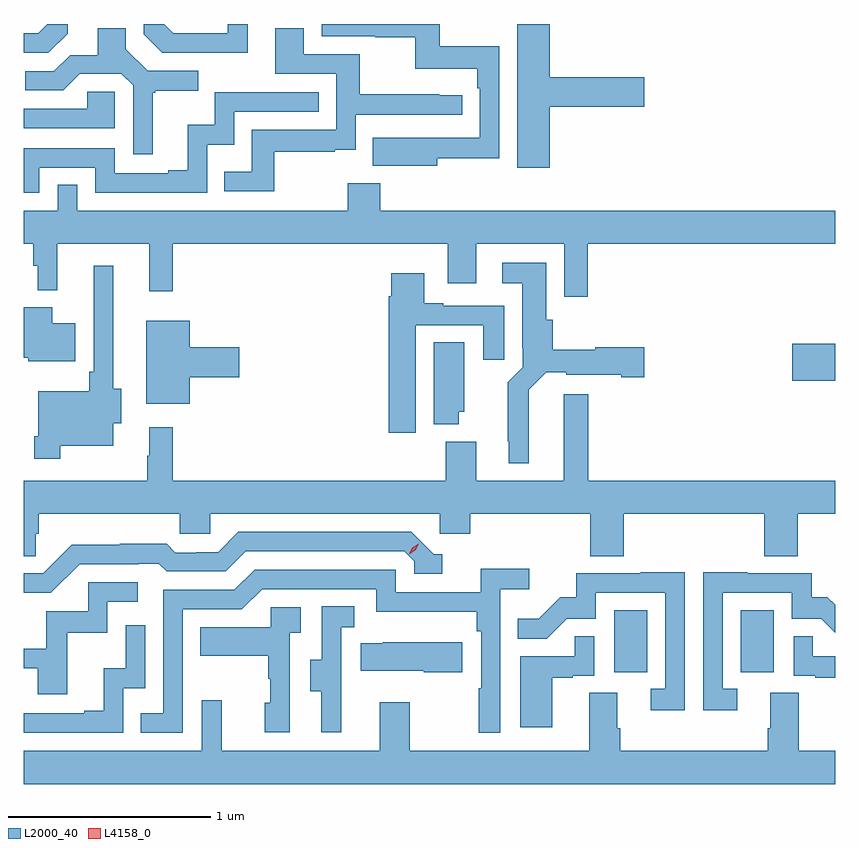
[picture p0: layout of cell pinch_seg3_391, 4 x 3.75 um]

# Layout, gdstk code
import gdstk
lib = gdstk.Library(unit=1e-6, precision=1e-09)
def R(c, l, rs):  # rectangles x0, y0, x1, y1
    for r in rs: c.add(gdstk.rectangle(r[:2], r[2:], *l))
def P(c, l, *ps):  # polygons
    for p in ps: c.add(gdstk.Polygon(p, *l))
L2000_40 = (2000, 40)
L4158_0 = (4158, 0)

pinch_seg3_391 = lib.new_cell('pinch_seg3_391')
R(pinch_seg3_391, L2000_40, [(936.59,689.478,936.754,689.785), (937.214,689.478,937.378,689.785), (937.47,690.917,937.68,691.1)])
P(pinch_seg3_391, L2000_40, [(936.274,692.267),(936.739,692.267),(936.739,692.414),(936.274,692.414),(936.274,692.676),(936.113,692.676),(936.113,691.968),(936.274,691.968)],
  [(935.719,692.014),(936.024,692.014),(936.024,692.566),(935.731,692.566),(935.731,692.676),(935.148,692.676),(935.148,692.616),(935.413,692.616),(935.413,692.611),(935.61,692.611),(935.61,692.456),(935.915,692.456),(935.915,692.36),(935.928,692.36),(935.928,692.115),(935.615,692.115),(935.615,692.116),(935.401,692.116),(935.401,691.976),(935.719,691.976)],
  [(934.783,692.676),(934.686,692.676),(934.686,692.631),(934.416,692.631),(934.371,692.676),(934.272,692.676),(934.272,692.625),(934.362,692.535),(934.578,692.535),(934.578,692.534),(934.783,692.534)],
  [(933.895,692.629),(933.895,692.676),(933.795,692.676),(933.75,692.631),(933.68,692.631),(933.68,692.535),(933.801,692.535)],
  [(934.315,692.337),(934.327,692.337),(934.327,692.348),(934.54,692.348),(934.54,692.445),(934.29,692.445),(934.183,692.552),(934.183,692.654),(934.043,692.654),(934.043,692.522),(933.908,692.522),(933.828,692.442),(933.687,692.442),(933.687,692.349),(933.874,692.349),(933.955,692.43),(934.161,692.43),(934.218,692.373),(934.218,692.034),(934.315,692.034)],
  [(934.915,692.046),(935.213,692.046),(935.213,692.057),(935.316,692.057),(935.316,692.229),(935.842,692.229),(935.842,692.325),(935.729,692.325),(935.729,692.33),(935.336,692.33),(935.336,692.526),(935.059,692.526),(935.059,692.654),(934.919,692.654),(934.919,692.43),(935.22,692.43),(935.22,692.154),(934.804,692.154),(934.804,691.948),(934.669,691.948),(934.669,691.851),(934.915,691.851)],
  [(934.128,692.343),(933.991,692.343),(933.991,692.259),(933.68,692.259),(933.68,692.163),(934.128,692.163)],
  [(933.756,691.968),(934.032,691.968),(934.032,691.845),(934.584,691.845),(934.584,692.081),(934.716,692.081),(934.716,692.244),(935.135,692.244),(935.135,692.34),(934.62,692.34),(934.62,692.179),(934.487,692.179),(934.487,691.954),(934.391,691.954),(934.391,691.941),(934.128,691.941),(934.128,692.064),(933.68,692.064),(933.68,691.845),(933.756,691.845)],
  [(933.68,691.592),(933.727,691.592),(933.727,691.485),(933.747,691.485),(933.747,691.364),(933.845,691.364),(933.845,691.592),(934.298,691.592),(934.298,691.359),(934.415,691.359),(934.415,691.592),(935.771,691.592),(935.771,691.398),(935.911,691.398),(935.911,691.592),(936.345,691.592),(936.345,691.332),(936.461,691.332),(936.461,691.592),(937.68,691.592),(937.68,691.756),(935.438,691.756),(935.438,691.891),(935.278,691.891),(935.278,691.756),(933.942,691.756),(933.942,691.883),(933.846,691.883),(933.846,691.756),(933.68,691.756)],
  [(936.169,690.872),(936.255,690.959),(936.354,690.959),(936.354,690.947),(936.626,690.947),(936.626,690.935),(936.739,690.935),(936.739,691.082),(936.498,691.082),(936.498,691.069),(936.287,691.069),(936.287,691.218),(936.256,691.218),(936.256,691.498),(936.039,691.498),(936.039,691.397),(936.137,691.397),(936.137,691.078),(936.141,691.078),(936.141,690.984),(936.067,690.91),(936.067,690.619),(936.071,690.619),(936.071,690.509),(936.169,690.509)],
  [(933.859,690.596),(934.12,690.596),(934.12,690.707),(934.159,690.707),(934.159,690.878),(934.12,690.878),(934.12,691.483),(934.023,691.483),(934.023,690.961),(934.003,690.961),(934.003,690.865),(933.75,690.865),(933.75,690.643),(933.73,690.643),(933.73,690.531),(933.859,690.531)],
  [(935.611,691.191),(935.945,691.191),(935.945,691.02),(936.049,691.02),(936.049,691.287),(935.749,691.287),(935.749,691.3),(935.653,691.3),(935.653,691.447),(935.492,691.447),(935.492,691.334),(935.48,691.334),(935.48,690.66),(935.611,690.66)],
  [(933.934,691.201),(933.82,691.201),(933.82,691.279),(933.68,691.279),(933.68,691.031),(933.702,691.031),(933.702,691.013),(933.934,691.013)],
  [(934.498,690.935),(934.741,690.935),(934.741,691.082),(934.498,691.082),(934.498,691.213),(934.283,691.213),(934.283,690.803),(934.498,690.803)],
  [(935.824,690.765),(935.851,690.765),(935.851,691.106),(935.702,691.106),(935.702,690.701),(935.824,690.701)],
  [(933.737,690.162),(933.752,690.162),(933.752,690.26),(934.449,690.26),(934.449,690.162),(934.599,690.162),(934.599,690.26),(935.73,690.26),(935.73,690.162),(935.882,690.162),(935.882,690.26),(936.473,690.26),(936.473,690.052),(936.638,690.052),(936.638,690.26),(937.331,690.26),(937.331,690.052),(937.496,690.052),(937.496,690.26),(937.68,690.26),(937.68,690.424),(936.464,690.424),(936.464,690.85),(936.341,690.85),(936.341,690.424),(935.911,690.424),(935.911,690.616),(935.759,690.616),(935.759,690.424),(934.415,690.424),(934.415,690.688),(934.298,690.688),(934.298,690.548),(934.287,690.548),(934.287,690.424),(933.68,690.424),(933.68,690.052),(933.737,690.052)],
  [(933.954,690.012),(934.247,690.012),(934.247,690.015),(934.346,690.015),(934.385,689.976),(934.674,689.976),(934.773,690.075),(935.556,690.075),(935.604,690.027),(935.604,689.964),(935.743,689.964),(935.743,690.06),(935.7,690.06),(935.589,690.171),(934.736,690.171),(934.637,690.072),(934.53,690.072),(934.53,690.069),(934.427,690.069),(934.385,690.112),(934.152,690.112),(934.152,690.109),(933.916,690.109),(933.774,689.967),(933.68,689.967),(933.68,689.871),(933.813,689.871)],
  [(934.464,689.79),(934.755,689.79),(934.854,689.889),(935.418,689.889),(935.418,689.777),(935.914,689.777),(935.914,689.681),(935.934,689.681),(935.934,689.399),(935.922,689.399),(935.922,689.181),(936.03,689.181),(936.03,689.888),(936.172,689.888),(936.172,689.99),(935.933,689.99),(935.933,689.874),(935.514,689.874),(935.514,689.985),(934.817,689.985),(934.718,689.886),(934.368,689.886),(934.368,689.277),(934.255,689.277),(934.255,689.181),(934.464,689.181)],
  [(937.198,689.397),(937.125,689.397),(937.125,689.871),(937.467,689.871),(937.467,689.742),(937.611,689.742),(937.68,689.673),(937.68,689.812),(937.642,689.85),(937.566,689.85),(937.566,689.967),(937.247,689.967),(937.247,689.972),(937.029,689.972),(937.029,689.292),(937.198,689.292)],
  [(936.939,689.972),(936.721,689.972),(936.721,689.967),(936.403,689.967),(936.403,689.85),(936.326,689.85),(936.219,689.743),(936.115,689.743),(936.115,689.644),(936.259,689.644),(936.357,689.742),(936.501,689.742),(936.501,689.871),(936.843,689.871),(936.843,689.397),(936.771,689.397),(936.771,689.292),(936.939,689.292)],
  [(933.893,689.673),(934.092,689.673),(934.092,689.826),(934.24,689.826),(934.24,689.922),(933.996,689.922),(933.996,689.781),(933.791,689.781),(933.791,689.595),(933.68,689.595),(933.68,689.499),(933.749,689.499),(933.749,689.37),(933.893,689.37)],
  [(935.246,689.397),(935.244,689.397),(935.244,689.701),(935.308,689.701),(935.308,689.804),(935.148,689.804),(935.148,689.541),(935.093,689.541),(935.093,689.386),(935.147,689.386),(935.147,689.184),(935.246,689.184)],
  [(934.992,689.675),(935.044,689.675),(935.044,689.799),(934.896,689.799),(934.896,689.701),(934.549,689.701),(934.549,689.561),(934.884,689.561),(934.884,689.447),(934.894,689.447),(934.894,689.328),(934.868,689.328),(934.868,689.184),(934.992,689.184)],
  [(934.17,689.4),(934.278,689.4),(934.278,689.71),(934.182,689.71),(934.182,689.498),(934.073,689.498),(934.073,689.29),(933.977,689.29),(933.977,689.277),(933.68,689.277),(933.68,689.181),(934.17,689.181)],
  [(936.286,689.451),(936.386,689.451),(936.386,689.463),(936.492,689.463),(936.492,689.657),(936.397,689.657),(936.397,689.559),(936.128,689.559),(936.128,689.208),(936.286,689.208)],
  [(937.68,689.559),(937.571,689.559),(937.571,689.657),(937.476,689.657),(937.476,689.463),(937.583,689.463),(937.583,689.451),(937.68,689.451)],
  [(935.842,689.626),(935.449,689.626),(935.449,689.623),(935.341,689.623),(935.341,689.486),(935.651,689.486),(935.651,689.479),(935.842,689.479)],
  [(937.68,689.092),(937.501,689.092),(937.501,689.378),(937.361,689.378),(937.361,689.204),(937.349,689.204),(937.349,689.092),(936.62,689.092),(936.62,689.204),(936.607,689.204),(936.607,689.378),(936.467,689.378),(936.467,689.092),(935.583,689.092),(935.583,689.332),(935.435,689.332),(935.435,689.092),(934.655,689.092),(934.655,689.341),(934.557,689.341),(934.557,689.092),(933.68,689.092),(933.68,688.928),(937.68,688.928)])
P(pinch_seg3_391, L4158_0, [(935.579,690.062),(935.579,690.062),(935.595,690.094),(935.626,690.114),(935.626,690.114),(935.626,690.113),(935.61,690.081),(935.58,690.062)])

lib.write_gds('pinch_seg3_391.gds')
